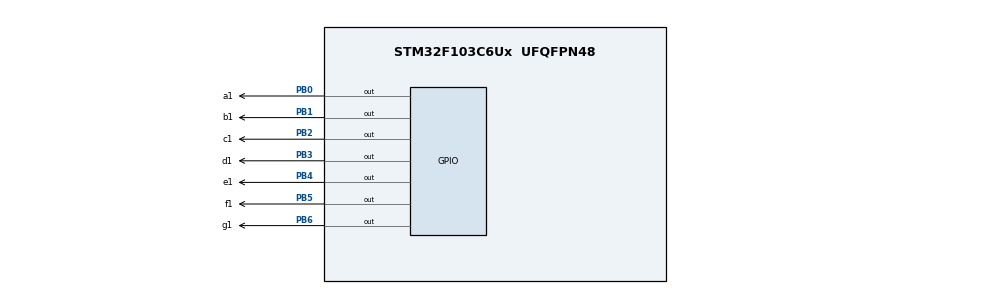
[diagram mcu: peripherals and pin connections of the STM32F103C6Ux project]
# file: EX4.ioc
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Mcu.Family=STM32F1
Mcu.Name=STM32F103C6Ux
Mcu.Package=UFQFPN48
NVIC.PriorityGroup=NVIC_PRIORITYGROUP_4
PB0.GPIO_Label=a1
PB0.Signal=GPIO_Output
PB1.GPIO_Label=b1
PB1.Signal=GPIO_Output
PB2.GPIO_Label=c1
PB2.Signal=GPIO_Output
PB3.GPIO_Label=d1
PB3.Signal=GPIO_Output
PB4.GPIO_Label=e1
PB4.Signal=GPIO_Output
PB5.GPIO_Label=f1
PB5.Signal=GPIO_Output
PB6.GPIO_Label=g1
PB6.Signal=GPIO_Output
ProjectManager.HeapSize=0x200
ProjectManager.StackSize=0x400
ProjectManager.TargetToolchain=STM32CubeIDE
RCC.APB1Freq_Value=8000000
RCC.APB2Freq_Value=8000000
VP_SYS_VS_ND.Mode=No_Debug
board=custom

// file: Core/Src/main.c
/* USER CODE BEGIN Header */
/**
  ******************************************************************************
  * @file           : main.c
  * @brief          : Main program body
  ******************************************************************************
  * @attention
  *
  * <h2><center>&copy; Copyright (c) 2026 STMicroelectronics.
  * All rights reserved.</center></h2>
  *
  * This software component is licensed by ST under BSD 3-Clause license,
  * the "License"; You may not use this file except in compliance with the
  * License. You may obtain a copy of the License at:
  *                        opensource.org/licenses/BSD-3-Clause
  *
  ******************************************************************************
  */
/* USER CODE END Header */
#include "main.h"

/* USER CODE BEGIN Includes */
uint8_t SEG = 1;

void display7SEG(int num)
{

    const uint8_t code[10][7] = {
        {1,1,1,1,1,1,0},
        {0,1,1,0,0,0,0},
        {1,1,0,1,1,0,1},
        {1,1,1,1,0,0,1},
        {0,1,1,0,0,1,1},
        {1,0,1,1,0,1,1},
        {1,0,1,1,1,1,1},
        {1,1,1,0,0,0,0},
        {1,1,1,1,1,1,1},
        {1,1,1,1,0,1,1}
    };

    uint16_t pin[7] = {
        a1_Pin,
        b1_Pin,
        c1_Pin,
        d1_Pin,
        e1_Pin,
        f1_Pin,
        g1_Pin
    };

    for (int i = 0; i < 7; i++)
    {
        if (code[num][i] == 1)
            HAL_GPIO_WritePin(GPIOB, pin[i], GPIO_PIN_RESET);
        else
            HAL_GPIO_WritePin(GPIOB, pin[i], GPIO_PIN_SET);
    }
}

/* USER CODE END Includes */

void SystemClock_Config(void);
static void MX_GPIO_Init(void);

int main(void)
{

  /* MCU Configuration--------------------------------------------------------*/

  /* Reset of all peripherals, Initializes the Flash interface and the Systick. */
  HAL_Init();

  /* Configure the system clock */
  SystemClock_Config();

  /* Initialize all configured peripherals */
  MX_GPIO_Init();

  /* Infinite loop */
  while (1)
  {
	    for (int i = 0; i <= 9; i++)
	    {
	        display7SEG(i);
	        HAL_Delay(1000);
	    }
  }
  /* USER CODE END 3 */
}

void SystemClock_Config(void)
{
  RCC_OscInitTypeDef RCC_OscInitStruct = {0};
  RCC_ClkInitTypeDef RCC_ClkInitStruct = {0};

  /** Initializes the RCC Oscillators according to the specified parameters
  * in the RCC_OscInitTypeDef structure.
  */
  RCC_OscInitStruct.OscillatorType = RCC_OSCILLATORTYPE_HSI;
  RCC_OscInitStruct.HSIState = RCC_HSI_ON;
  RCC_OscInitStruct.HSICalibrationValue = RCC_HSICALIBRATION_DEFAULT;
  RCC_OscInitStruct.PLL.PLLState = RCC_PLL_NONE;
  if (HAL_RCC_OscConfig(&RCC_OscInitStruct) != HAL_OK)
  {
    Error_Handler();
  }
  /** Initializes the CPU, AHB and APB buses clocks
  */
  RCC_ClkInitStruct.ClockType = RCC_CLOCKTYPE_HCLK|RCC_CLOCKTYPE_SYSCLK
                              |RCC_CLOCKTYPE_PCLK1|RCC_CLOCKTYPE_PCLK2;
  RCC_ClkInitStruct.SYSCLKSource = RCC_SYSCLKSOURCE_HSI;
  RCC_ClkInitStruct.AHBCLKDivider = RCC_SYSCLK_DIV1;
  RCC_ClkInitStruct.APB1CLKDivider = RCC_HCLK_DIV1;
  RCC_ClkInitStruct.APB2CLKDivider = RCC_HCLK_DIV1;

  if (HAL_RCC_ClockConfig(&RCC_ClkInitStruct, FLASH_LATENCY_0) != HAL_OK)
  {
    Error_Handler();
  }
}

static void MX_GPIO_Init(void)
{
  GPIO_InitTypeDef GPIO_InitStruct = {0};

  /* GPIO Ports Clock Enable */
  __HAL_RCC_GPIOB_CLK_ENABLE();

  /*Configure GPIO pin Output Level */
  HAL_GPIO_WritePin(GPIOB, a1_Pin|b1_Pin|c1_Pin|d1_Pin
                          |e1_Pin|f1_Pin|g1_Pin, GPIO_PIN_SET);

  /*Configure GPIO pins : a1_Pin b1_Pin c1_Pin d1_Pin
                           e1_Pin f1_Pin g1_Pin */
  GPIO_InitStruct.Pin = a1_Pin|b1_Pin|c1_Pin|d1_Pin
                          |e1_Pin|f1_Pin|g1_Pin;
  GPIO_InitStruct.Mode = GPIO_MODE_OUTPUT_PP;
  GPIO_InitStruct.Pull = GPIO_NOPULL;
  GPIO_InitStruct.Speed = GPIO_SPEED_FREQ_LOW;
  HAL_GPIO_Init(GPIOB, &GPIO_InitStruct);

}

void Error_Handler(void)
{
  __disable_irq();
  while (1)
  {
  }
}

/************************ (C) COPYRIGHT STMicroelectronics *****END OF FILE****/
